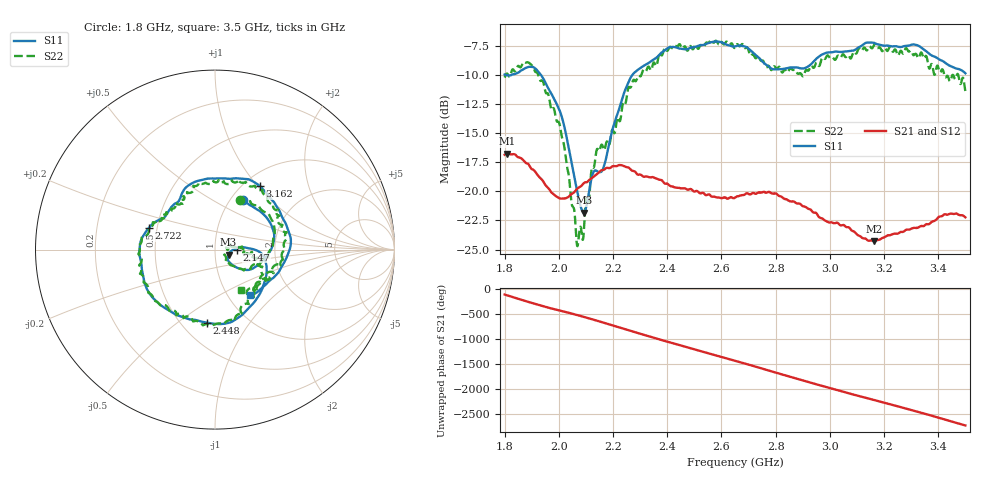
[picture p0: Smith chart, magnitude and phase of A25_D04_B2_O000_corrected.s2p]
! Created with skrf 1.9.0 (http://scikit-rf.org).
# Hz S RI R 50.0
!freq ReS11 ImS11 ReS21 ImS21 ReS12 ImS12 ReS22 ImS22
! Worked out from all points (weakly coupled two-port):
!   1601 points, 1.8 GHz to 3.5 GHz, reference 50 ohm
!   highest |S21| = -16.76 dB at 1.811 GHz (marker M1); lowest = -24.3 dB at 3.162 GHz (marker M2)
!   lowest |S11| = -21.8 dB at 2.092 GHz (marker M3), VSWR 1.18, Z = 58.1 - j3.4 ohm
!   |S11| at or under -10 dB: 1.802 GHz to 1.827 GHz (24.58 MHz wide, 1.35 % of centre); 1.934 GHz to 2.272 GHz (338.2 MHz wide, 16.1 % of centre)
!   |S22| runs from -24.7 to -7.1 dB; largest |S21 - S12| = 0.0022
!   S11 on the Smith chart (normalised r, x): 1.8 GHz: 1.15, +0.70; 2.147 GHz: 1.27, +0.00; 2.448 GHz: 0.66, -0.65; 2.722 GHz: 0.45, +0.13; 3.162 GHz: 1.18, +1.03; 3.5 GHz: 1.26, -0.71
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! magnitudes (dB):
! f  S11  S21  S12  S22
! 1.8 GHz  -10.0  -16.9  -16.9  -10.2
! 1.811 GHz  -10.0  -16.8  -16.8  -9.9
! 1.882 GHz  -9.4  -17.6  -17.6  -8.9
! 1.941 GHz  -10.3  -19.1  -19.1  -10.6
! 2.011 GHz  -13.6  -20.6  -20.6  -15.4
! 2.066 GHz  -19.8  -19.8  -19.8  -24.3
! 2.084 GHz  -21.5  -19.5  -19.5  -23.5
! 2.092 GHz  -21.8  -19.3  -19.3  -23.5
! 2.126 GHz  -18.4  -18.8  -18.8  -18.0
! 2.147 GHz  -18.4  -18.4  -18.4  -16.5
! 2.186 GHz  -15.9  -18.0  -18.0  -16.0
! 2.261 GHz  -10.4  -18.0  -18.0  -11.1
! 2.367 GHz  -8.4  -19.0  -18.9  -8.5
! 2.448 GHz  -7.8  -19.7  -19.7  -7.4
! 2.65 GHz  -7.6  -20.6  -20.5  -7.7
! 2.722 GHz  -8.2  -20.2  -20.1  -8.5
! 2.795 GHz  -9.5  -20.2  -20.2  -9.3
! 2.934 GHz  -9.0  -21.7  -21.7  -9.2
! 3.162 GHz  -7.3  -24.3  -24.2  -7.5
! 3.217 GHz  -7.5  -23.8  -23.7  -7.8
! 3.321 GHz  -7.5  -23.1  -23.1  -8.4
! 3.5 GHz  -9.9  -22.2  -22.2  -11.4
